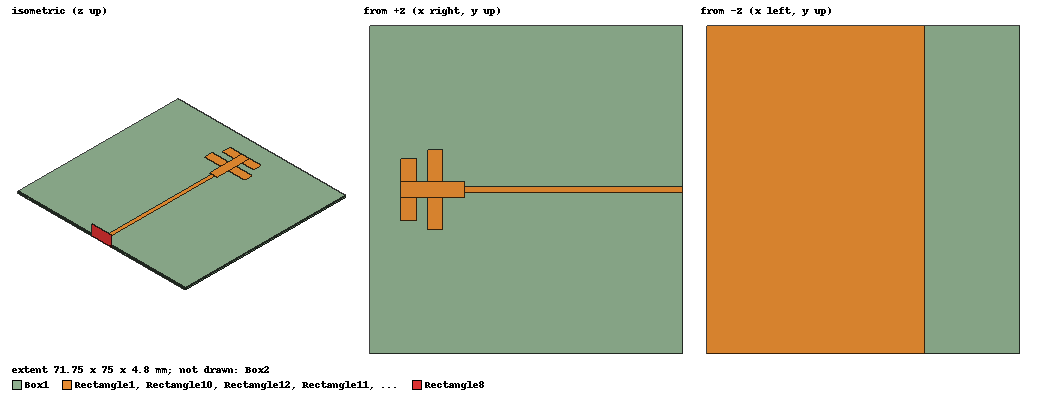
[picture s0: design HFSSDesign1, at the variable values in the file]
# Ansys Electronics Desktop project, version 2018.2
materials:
  vacuum: permittivity=1
  FR4_epoxy: permittivity=4.4 dielectric_loss_tangent=0.02

design HFSSDesign1 (HFSS, DrivenModal, model units mm)
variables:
  hs = 0.8mm
  W = 75mm
  h1 = 14.5mm
  L = 50mm
  wf = 1.5mm
  h2 = 5mm
  wm = 3.5mm
  w2 = 3.5mm
  l21 = 7.3mm
  l22 = 7.3mm
  l11 = 5.3mm
  w1 = 3.5mm
  l12 = 5.3mm
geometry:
  Box1 [FR4_epoxy] = box(corner=(-(1.5*h1+L), -W/2, -hs), size=(1.5*h1+L, W, hs))
  Rectangle1 = rectangle(corner=(-L, -W/2, -hs), x_size=L, y_size=W)
  Rectangle8 = rectangle(corner=(0mm, -3*wf, -hs), y_size=6*wf, z_size=6*hs)
  Box2 [vacuum] = box(corner=(-75mm, -45mm, -30mm), size=(75mm, 90mm, 65mm))
  Rectangle9 = rectangle(corner=(-L, -wf/2, 0mm), x_size=L, y_size=wf)
  Rectangle10 = rectangle(corner=(-L, -wf/2, 0mm), x_size=L, y_size=wf)
  Rectangle11 = rectangle(corner=(-(L+h2+w2), wm/2, 0mm), x_size=w2, y_size=l22)
  Rectangle12 = rectangle(corner=(-(h1+L), -wm/2, 0mm), x_size=h1, y_size=wm)
  Rectangle13 = rectangle(corner=(-(L+h2+w2), -(l21+wm/2), 0mm), x_size=w2, y_size=l21)
  Rectangle14 = rectangle(corner=(-(L+h1), -(l11+wm/2), 0mm), x_size=w1, y_size=l11)
  Rectangle15 = rectangle(corner=(-(L+h1), wm/2, 0mm), x_size=w1, y_size=l12)
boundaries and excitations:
  PerfE1: Perfect E Objects=Rectangle1
  Rad1: Radiation Objects=Box2
  PerfE2: Perfect E Objects=[Rectangle9..Rectangle15]
  1: Wave Port Objects=Rectangle8 NumModes=1 Modes{Mode1{IntLine{middle of Rectangle8.edge(z at corner) -> middle of Rectangle10.edge(x opposite corner)} CharImp=Zpi}}
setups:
  Setup1: HfssDriven Frequency=5.5GHz MaxDeltaS=0.02 MaximumPasses=20 MinimumPasses=1 MinimumConvergedPasses=1 PercentRefinement=30 BasisOrder=1 PortAccuracy=2
    sweep Sweep: 2GHz to 6GHz step 0.01GHz; Type=Fast SaveFields
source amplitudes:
  1:1: 1W 0deg
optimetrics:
  ParametricSetup1: Parametric Sim._Setups=[Setup1]
    sweep l21: LIN 0mm 1mm 0.5mm
    sweep l22: LIN 0mm 1mm 0.5mm
    table edits: add(1mm, 1mm) add(1mm, 1mm) del(1mm, 1mm) del(1mm, 1mm) del(0mm, 0.5mm) del(1mm, 1mm) del(0.5mm, 1mm) del(1mm, 0mm) del(1mm, 0.5mm) del(0.5mm, 0mm) del(0.5mm, 0.5mm) del(0mm, 1mm) add(0mm, 0mm)
  ParametricSetup2: Parametric Sim._Setups=[Setup1]
    sweep l21: LIN 6.3mm 8.3mm 1mm
    sweep l22: LIN 6.3mm 8.3mm 1mm
    table edits: del(6.3mm, 7.3mm) del(6.3mm, 6.3mm) del(8.3mm, 8.3mm) del(7.3mm, 8.3mm) del(8.3mm, 7.3mm) del(7.3mm, 7.3mm) del(7.3mm, 6.3mm) del(8.3mm, 6.3mm)
  ParametricSetup3: Parametric Sim._Setups=[Setup1]
    sweep w2: LIN 1.5mm 3.5mm 1mm
    sweep w1: LIN 1.5mm 3.5mm 1mm
    sweep wm: LIN 1.5mm 3.5mm 1mm
    sweep h1: LIN 14.5mm 16.5mm 1mm
    table edits: del(1.5mm, 1.5mm, 1.5mm, 15.5mm) del(1.5mm, 1.5mm, 1.5mm, 14.5mm) del(3.5mm, 3.5mm, 3.5mm, 16.5mm) del(3.5mm, 3.5mm, 3.5mm, 15.5mm) del(3.5mm, 3.5mm, 3.5mm, 14.5mm) del(3.5mm, 3.5mm, 2.5mm, 16.5mm) del(3.5mm, 3.5mm, 2.5mm, 15.5mm) del(3.5mm, 3.5mm, 2.5mm, 14.5mm) del(3.5mm, 3.5mm, 1.5mm, 16.5mm) del(3.5mm, 3.5mm, 1.5mm, 15.5mm) del(3.5mm, 3.5mm, 1.5mm, 14.5mm) del(3.5mm, 2.5mm, 3.5mm, 16.5mm) del(3.5mm, 2.5mm, 3.5mm, 15.5mm) del(3.5mm, 2.5mm, 3.5mm, 14.5mm) del(3.5mm, 2.5mm, 2.5mm, 16.5mm) del(3.5mm, 2.5mm, 2.5mm, 15.5mm) del(3.5mm, 2.5mm, 2.5mm, 14.5mm) del(3.5mm, 2.5mm, 1.5mm, 16.5mm) del(3.5mm, 2.5mm, 1.5mm, 15.5mm) del(3.5mm, 2.5mm, 1.5mm, 14.5mm) del(3.5mm, 1.5mm, 3.5mm, 16.5mm) del(3.5mm, 1.5mm, 3.5mm, 15.5mm) del(3.5mm, 1.5mm, 3.5mm, 14.5mm) del(3.5mm, 1.5mm, 2.5mm, 16.5mm) del(3.5mm, 1.5mm, 2.5mm, 15.5mm) del(3.5mm, 1.5mm, 2.5mm, 14.5mm) del(3.5mm, 1.5mm, 1.5mm, 16.5mm) del(3.5mm, 1.5mm, 1.5mm, 15.5mm) del(3.5mm, 1.5mm, 1.5mm, 14.5mm) del(2.5mm, 3.5mm, 3.5mm, 16.5mm) del(2.5mm, 3.5mm, 3.5mm, 15.5mm) del(2.5mm, 3.5mm, 3.5mm, 14.5mm) del(2.5mm, 3.5mm, 2.5mm, 16.5mm) del(2.5mm, 3.5mm, 2.5mm, 15.5mm) del(2.5mm, 3.5mm, 2.5mm, 14.5mm) del(2.5mm, 3.5mm, 1.5mm, 16.5mm) del(2.5mm, 3.5mm, 1.5mm, 15.5mm) del(2.5mm, 3.5mm, 1.5mm, 14.5mm) del(2.5mm, 2.5mm, 3.5mm, 16.5mm) del(2.5mm, 2.5mm, 3.5mm, 15.5mm) del(2.5mm, 2.5mm, 3.5mm, 14.5mm) del(2.5mm, 2.5mm, 2.5mm, 16.5mm) del(2.5mm, 2.5mm, 2.5mm, 15.5mm) del(2.5mm, 2.5mm, 2.5mm, 14.5mm) del(2.5mm, 2.5mm, 1.5mm, 16.5mm) del(2.5mm, 2.5mm, 1.5mm, 15.5mm) del(2.5mm, 2.5mm, 1.5mm, 14.5mm) del(2.5mm, 1.5mm, 3.5mm, 16.5mm) del(2.5mm, 1.5mm, 3.5mm, 15.5mm) del(2.5mm, 1.5mm, 3.5mm, 14.5mm) del(2.5mm, 1.5mm, 2.5mm, 16.5mm) del(2.5mm, 1.5mm, 2.5mm, 15.5mm) del(2.5mm, 1.5mm, 2.5mm, 14.5mm) del(2.5mm, 1.5mm, 1.5mm, 16.5mm) del(2.5mm, 1.5mm, 1.5mm, 15.5mm) del(2.5mm, 1.5mm, 1.5mm, 14.5mm) del(1.5mm, 3.5mm, 3.5mm, 16.5mm) del(1.5mm, 3.5mm, 3.5mm, 15.5mm) del(1.5mm, 3.5mm, 3.5mm, 14.5mm) del(1.5mm, 3.5mm, 2.5mm, 16.5mm)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
  ParametricSetup4: Parametric Sim._Setups=[Setup1]
    sweep w1: LIN 1.5mm 3.5mm 1mm
    table edits: del(3.5mm) del(2.5mm)
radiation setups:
  Infinite Sphere1: Infinite Sphere Theta=-180deg..180deg step 2deg Phi=0deg..360deg step 2deg
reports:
  S Parameter Plot 2: dB(S(1,1)) vs Freq on Setup1 : Sweep; markers m1 at 2.45GHz, m2 at 5.5GHz
  Gain Plot 1: dB(GainTotal) vs Theta on Setup1 : Sweep, Infinite Sphere1 [Phi=all Freq=2.45GHz,5.5GHz]
  Gain Plot 2: dB(GainTotal) vs Theta on Setup1 : Sweep, Infinite Sphere1 [Phi=180deg Freq=2.45GHz,5.5GHz]
  Gain Plot 3: dB(GainTotal) vs Theta on Setup1 : Sweep, Infinite Sphere1 [Phi=0deg,180deg Freq=2.45GHz,5.5GHz]
  Gain Plot 4: dB(GainTotal) vs Theta on Setup1 : Sweep, Infinite Sphere1 [Phi=0deg,180deg Freq=5.5GHz]
  Gain Plot 5: dB(GainTotal) vs Theta on Setup1 : Sweep, Infinite Sphere1 [Phi=0deg,180deg Freq=2.45GHz]
  S Parameter Plot 3: dB(S(1,1)) vs Freq on Setup1 : Sweep [h1=all wm=all w2=all l21=all l22=all w1=all]
  S Parameter Plot 4: dB(S(1,1)) vs Freq on Setup1 : Sweep [h1=all wm=all w2=all l21=6.3mm l22=8.3mm w1=all]; markers m1 at 2.45GHz, m2 at 5.5GHz
  Gain Plot 6: dB(GainTotal) vs Theta on Setup1 : LastAdaptive, Infinite Sphere1 [Phi=0deg,180deg Freq=5.5GHz h1=all wm=all w2=all l21=6.3mm l22=8.3mm w1=all]
  S Parameter Plot 5: dB(S(1,1)) vs Freq on Setup1 : Sweep [h1=all wm=all w2=all l21=all l22=all w1=all]
  S Parameter Plot 6: dB(S(1,1)) vs Freq on Setup1 : Sweep [h1=16.5mm wm=1.5mm w2=1.5mm l21=7.3mm l22=7.3mm w1=1.5mm]
  S Parameter Plot 7: dB(S(1,1)) vs Freq on Setup1 : Sweep [h1=all wm=all w2=all l21=all l22=all w1=all]
  S Parameter Plot 8: dB(S(1,1)) vs Freq on Setup1 : Sweep [h1=14.5mm wm=3.5mm w2=3.5mm l21=7.3mm l22=7.3mm w1=1.5mm]
